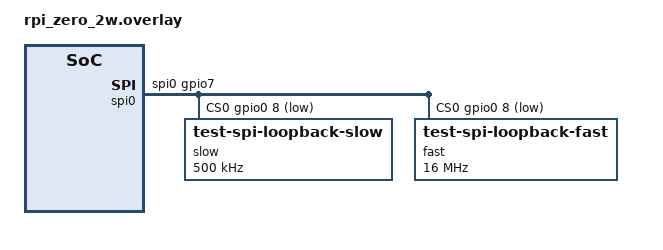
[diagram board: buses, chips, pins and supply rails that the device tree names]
/*
 * Copyright (c) 2026 Jonathan Elliot Peace <jep@alphabetiq.com>
 *
 * SPDX-License-Identifier: Apache-2.0
 */

#include <zephyr/dt-bindings/gpio/gpio.h>
#include <broadcom/bcm283x-pinctrl.dtsi>

&spi0 {
	pinctrl-names = "default";
	pinctrl-0 = <&spi0_gpio7>;
	cs-gpios = <&gpio0 8 GPIO_ACTIVE_LOW>;
	status = "okay";

	slow@0 {
		compatible = "test-spi-loopback-slow";
		reg = <0>;
		spi-max-frequency = <500000>;
	};

	fast@0 {
		compatible = "test-spi-loopback-fast";
		reg = <0>;
		spi-max-frequency = <16000000>;
	};
};
